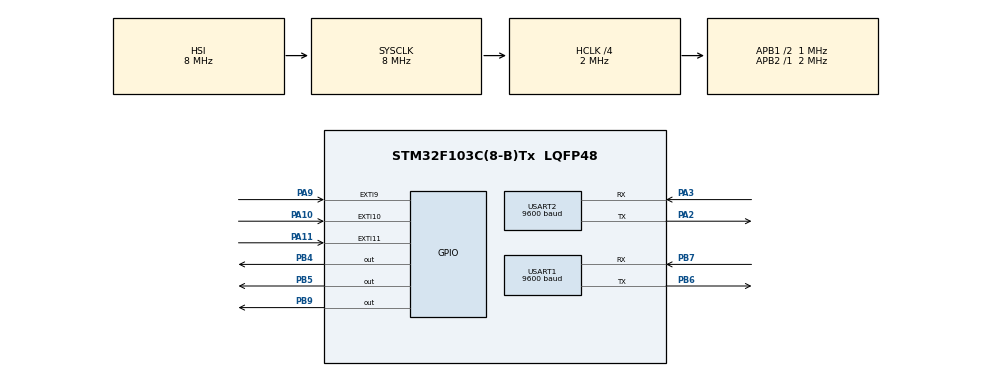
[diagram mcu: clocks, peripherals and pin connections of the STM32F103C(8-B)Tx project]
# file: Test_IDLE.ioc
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Mcu.Family=STM32F1
Mcu.Name=STM32F103C(8-B)Tx
Mcu.Package=LQFP48
NVIC.EXTI15_10_IRQn=true\:0\:0\:false\:false\:true\:true\:true\:true
NVIC.EXTI9_5_IRQn=true\:0\:0\:false\:false\:true\:true\:true\:true
NVIC.PriorityGroup=NVIC_PRIORITYGROUP_4
NVIC.USART1_IRQn=true\:0\:0\:false\:false\:true\:true\:true\:true
PA10.GPIO_PuPd=GPIO_PULLDOWN
PA10.Signal=GPXTI10
PA11.GPIO_PuPd=GPIO_PULLDOWN
PA11.Signal=GPXTI11
PA13.Mode=Trace_Asynchronous_SW
PA13.Signal=SYS_JTMS-SWDIO
PA14.Mode=Trace_Asynchronous_SW
PA14.Signal=SYS_JTCK-SWCLK
PA2.Mode=Asynchronous
PA2.Signal=USART2_TX
PA3.Mode=Asynchronous
PA3.Signal=USART2_RX
PA9.GPIO_PuPd=GPIO_PULLDOWN
PA9.Signal=GPXTI9
PB3.Mode=Trace_Asynchronous_SW
PB3.Signal=SYS_JTDO-TRACESWO
PB4.GPIO_PuPd=GPIO_PULLDOWN
PB4.Signal=GPIO_Output
PB5.GPIO_PuPd=GPIO_PULLDOWN
PB5.Signal=GPIO_Output
PB6.Mode=Asynchronous
PB6.Signal=USART1_TX
PB7.Mode=Asynchronous
PB7.Signal=USART1_RX
PB9.GPIO_PuPd=GPIO_PULLDOWN
PB9.Signal=GPIO_Output
ProjectManager.HeapSize=0x200
ProjectManager.StackSize=0x400
ProjectManager.TargetToolchain=MDK-ARM V5.32
RCC.AHBCLKDivider=RCC_SYSCLK_DIV4
RCC.AHBFreq_Value=2000000
RCC.APB1CLKDivider=RCC_HCLK_DIV2
RCC.APB1Freq_Value=1000000
RCC.APB1TimFreq_Value=2000000
RCC.APB2Freq_Value=2000000
RCC.APB2TimFreq_Value=2000000
RCC.HCLKFreq_Value=2000000
RCC.PLLMUL=RCC_PLL_MUL9
RCC.SYSCLKFreq_VALUE=8000000
RCC.USBFreq_Value=36000000
TIM2.Period=5000
TIM2.Prescaler=2000 - 1
USART1.BaudRate=9600
USART1.VirtualMode=VM_ASYNC
USART2.BaudRate=9600
USART2.VirtualMode=VM_ASYNC
VP_TIM2_VS_ClockSourceINT.Mode=Internal
board=custom

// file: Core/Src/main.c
/* USER CODE BEGIN Header */
/**
  ******************************************************************************
  * @file           : main.c
  * @brief          : Main program body
  ******************************************************************************
  * @attention
  *
  * <h2><center>&copy; Copyright (c) 2023 STMicroelectronics.
  * All rights reserved.</center></h2>
  *
  * This software component is licensed by ST under BSD 3-Clause license,
  * the "License"; You may not use this file except in compliance with the
  * License. You may obtain a copy of the License at:
  *                        opensource.org/licenses/BSD-3-Clause
  *
  ******************************************************************************
  */
/* USER CODE END Header */
#include "main.h"

/* USER CODE BEGIN Includes */
#include <stdio.h>
#include <string.h>
#include "nmea.h"
#include "button.h"
#include "flash.h"
#include <stdlib.h>
/* USER CODE END Includes */

/* USER CODE BEGIN PD */
#define rx_buffer_size 1000 // received buffer size
/* USER CODE END PD */

TIM_HandleTypeDef htim2;

UART_HandleTypeDef huart1;
UART_HandleTypeDef huart2;

/* USER CODE BEGIN PV */
uint8_t rx_buffer[rx_buffer_size] = {0, }; //received buffer

uint8_t push_on_off = 0; // responsible for pressing the button to start recording coordinates
uint8_t push_transmit = 0; // responsible for pressing the button to transmit recording coordinates
uint8_t push_make_point = 0; //responsible for pressing the button to make special coordinates

//uint8_t check_power = 0;
uint8_t check_capacity = 0; //responsible for flash-memory recording

/* USER CODE END PV */

void SystemClock_Config(void);
static void MX_GPIO_Init(void);
static void MX_USART1_UART_Init(void);
static void MX_USART2_UART_Init(void);
static void MX_TIM2_Init(void);

/* USER CODE BEGIN 0 */

void HAL_UART_IDLE_Callback(UART_HandleTypeDef *huart) {
	if (huart == &huart1) {
		__HAL_UART_DISABLE_IT(&huart1, UART_IT_IDLE);

		HAL_UART_AbortReceive_IT(&huart1);
		__HAL_UART_CLEAR_IDLEFLAG(&huart1);
		__HAL_UART_ENABLE_IT(&huart1, UART_IT_IDLE);
		HAL_UART_Receive_IT(&huart1, (uint8_t*)rx_buffer, rx_buffer_size);
	}
}

void HAL_UART_RxCpltCallback(UART_HandleTypeDef *huart) {
	if (huart == &huart1) {
		__HAL_UART_DISABLE_IT(&huart1, UART_IT_IDLE);

		HAL_UART_AbortReceive_IT(&huart1);
		__HAL_UART_CLEAR_IDLEFLAG(&huart1);
		__HAL_UART_ENABLE_IT(&huart1, UART_IT_IDLE);
		HAL_UART_Receive_IT(&huart1, (uint8_t*)rx_buffer, rx_buffer_size);
	}
}

void HAL_GPIO_EXTI_Callback(uint16_t GPIO_Pin)
{
	uint16_t t0 = TIM2->CNT;
	if (GPIO_Pin == BUT_ON_OFF) // on or off record track
	{
		if (Read_Button_Time_Push(GPIO_Pin, t0) < 200) push_on_off = 1;

		if (Read_Button_Time_Push(GPIO_Pin, t0) > 1000) push_on_off = 2;
	}

	if (GPIO_Pin == BUT_MAKE_POINT) // make a point
	{
		if (Read_Button_Time_Push(GPIO_Pin, t0) < 400) push_make_point = 1;
	}

	if (GPIO_Pin == BUT_TRANSMIT_DATA) // send data
	{
		if (Read_Button_Time_Push(GPIO_Pin, t0) < 400) push_transmit = 1;
	}

}

/* USER CODE END 0 */

int main(void)
{

  /* MCU Configuration--------------------------------------------------------*/

  /* Reset of all peripherals, Initializes the Flash interface and the Systick. */
  HAL_Init();

  /* USER CODE BEGIN Init */

	//FLASH_Read(ADDR_FLASH_PAGE_127, b);
  /* USER CODE END Init */

  /* Configure the system clock */
  SystemClock_Config();

  /* Initialize all configured peripherals */
  MX_GPIO_Init();
  MX_USART1_UART_Init();
  MX_USART2_UART_Init();
  MX_TIM2_Init();

  /* Infinite loop */
  /* USER CODE BEGIN WHILE */
  while (1)
  {

		uint8_t *buffer = get_transmit_buf().buf;
		uint16_t size = get_transmit_buf().size;
		uint16_t u16_size = 0;

		if ((size / 2) % 2 != 0)
		{
			u16_size = size / 2 + 1;
		}
		else u16_size = size / 2;

		if (check_valid_data(rx_buffer) == -1 && !check_capacity)
		{
			HAL_GPIO_WritePin(GPIOB, GPIO_PIN_9, GPIO_PIN_SET);
			Delay(300);
			HAL_GPIO_WritePin(GPIOB, GPIO_PIN_9, GPIO_PIN_RESET);
		}
		else if (check_valid_data(rx_buffer) && !push_on_off && !check_capacity)
		{
			HAL_GPIO_WritePin(GPIOB, GPIO_PIN_5, GPIO_PIN_SET);
			Delay(300);
			HAL_GPIO_WritePin(GPIOB, GPIO_PIN_5, GPIO_PIN_RESET);
		}

		if (size >= 980 && size < 1010)
		{
			Save_Data(buf_u8_to_u16(buffer, size), u16_size + 1);
			Save_Data(&amount_lists, 1);
			set_ind_c(0);
			set_ind_t(0);
			amount_lists++;
		} // save data on one page flash-memory

		if (push_on_off == 1 && !push_make_point)
		{
			nmea_handler(rx_buffer, AVERAGE);
			HAL_GPIO_WritePin(GPIOB, GPIO_PIN_5, GPIO_PIN_SET);
		} // start receive data

		if (push_on_off == 1 && push_make_point)
		{
			nmea_handler(rx_buffer, SPECIAL);
			push_make_point = 0;
			HAL_GPIO_WritePin(GPIOB, GPIO_PIN_4, GPIO_PIN_SET);
		} // make a special point
		Delay(300);
		HAL_GPIO_WritePin(GPIOB, GPIO_PIN_4, GPIO_PIN_RESET);

		if (push_on_off == 2)
		{
			Save_Data(buf_u8_to_u16(buffer, size), u16_size + 1);
			Save_Data(&amount_lists, 1);
			push_on_off = 0;
			set_ind_c(0);
			set_ind_t(0);
			amount_lists++;
		} //stop receive and save data

		if (push_on_off == 0)
		{
			HAL_GPIO_WritePin(GPIOB, GPIO_PIN_5, GPIO_PIN_RESET);
		}

		if (push_transmit)
		{
			uint16_t lists = 0;
			if ((*((uint32_t*)(ADDR_AMOUNT_PAGES))) == 0xFF) lists = 0;
			else lists = (*((uint32_t*)(ADDR_AMOUNT_PAGES)));
			for (uint16_t i = 0; i < lists; i++)
			{
				uint32_t add = ((uint32_t)(ADDR_FLASH_PAGE_126 -((uint32_t)(0x0000400 * (uint32_t)i))));
				uint16_t len = (*((uint32_t*)(ADDR_FLASH_PAGE_126 -((uint32_t)(0x0000400 * (uint32_t)i)))));
				transmit_data(buf_u16_to_u8(Read_Data(add, len), len), len * 2);
			}
			HAL_GPIO_WritePin(GPIOB, GPIO_PIN_4, GPIO_PIN_SET);
			Delay(1000);
			HAL_GPIO_WritePin(GPIOB, GPIO_PIN_4, GPIO_PIN_RESET);
			push_transmit = 0;
		}

		if (address_list_now == ((uint32_t)0x08007800))
		{
			check_capacity = 1;
			push_on_off = 0;
		} //check flash-memory capacity

		if (check_capacity)
		{
				HAL_GPIO_WritePin(GPIOB, GPIO_PIN_9, GPIO_PIN_SET);
		}

    /* USER CODE END WHILE */

}

void SystemClock_Config(void)
{
  RCC_OscInitTypeDef RCC_OscInitStruct = {0};
  RCC_ClkInitTypeDef RCC_ClkInitStruct = {0};

  /** Initializes the RCC Oscillators according to the specified parameters
  * in the RCC_OscInitTypeDef structure.
  */
  RCC_OscInitStruct.OscillatorType = RCC_OSCILLATORTYPE_HSI;
  RCC_OscInitStruct.HSIState = RCC_HSI_ON;
  RCC_OscInitStruct.HSICalibrationValue = RCC_HSICALIBRATION_DEFAULT;
  RCC_OscInitStruct.PLL.PLLState = RCC_PLL_NONE;
  if (HAL_RCC_OscConfig(&RCC_OscInitStruct) != HAL_OK)
  {
    Error_Handler();
  }

  /** Initializes the CPU, AHB and APB buses clocks
  */
  RCC_ClkInitStruct.ClockType = RCC_CLOCKTYPE_HCLK|RCC_CLOCKTYPE_SYSCLK
                              |RCC_CLOCKTYPE_PCLK1|RCC_CLOCKTYPE_PCLK2;
  RCC_ClkInitStruct.SYSCLKSource = RCC_SYSCLKSOURCE_HSI;
  RCC_ClkInitStruct.AHBCLKDivider = RCC_SYSCLK_DIV4;
  RCC_ClkInitStruct.APB1CLKDivider = RCC_HCLK_DIV2;
  RCC_ClkInitStruct.APB2CLKDivider = RCC_HCLK_DIV1;

  if (HAL_RCC_ClockConfig(&RCC_ClkInitStruct, FLASH_LATENCY_0) != HAL_OK)
  {
    Error_Handler();
  }
}

static void MX_TIM2_Init(void)
{

  TIM_ClockConfigTypeDef sClockSourceConfig = {0};
  TIM_MasterConfigTypeDef sMasterConfig = {0};

  htim2.Instance = TIM2;
  htim2.Init.Prescaler = 2000 - 1;
  htim2.Init.CounterMode = TIM_COUNTERMODE_UP;
  htim2.Init.Period = 5000;
  htim2.Init.ClockDivision = TIM_CLOCKDIVISION_DIV1;
  htim2.Init.AutoReloadPreload = TIM_AUTORELOAD_PRELOAD_DISABLE;
  if (HAL_TIM_Base_Init(&htim2) != HAL_OK)
  {
    Error_Handler();
  }
  sClockSourceConfig.ClockSource = TIM_CLOCKSOURCE_INTERNAL;
  if (HAL_TIM_ConfigClockSource(&htim2, &sClockSourceConfig) != HAL_OK)
  {
    Error_Handler();
  }
  sMasterConfig.MasterOutputTrigger = TIM_TRGO_RESET;
  sMasterConfig.MasterSlaveMode = TIM_MASTERSLAVEMODE_DISABLE;
  if (HAL_TIMEx_MasterConfigSynchronization(&htim2, &sMasterConfig) != HAL_OK)
  {
    Error_Handler();
  }

}

static void MX_USART1_UART_Init(void)
{

  huart1.Instance = USART1;
  huart1.Init.BaudRate = 9600;
  huart1.Init.WordLength = UART_WORDLENGTH_8B;
  huart1.Init.StopBits = UART_STOPBITS_1;
  huart1.Init.Parity = UART_PARITY_NONE;
  huart1.Init.Mode = UART_MODE_TX_RX;
  huart1.Init.HwFlowCtl = UART_HWCONTROL_NONE;
  huart1.Init.OverSampling = UART_OVERSAMPLING_16;
  if (HAL_UART_Init(&huart1) != HAL_OK)
  {
    Error_Handler();
  }

}

static void MX_USART2_UART_Init(void)
{

  huart2.Instance = USART2;
  huart2.Init.BaudRate = 9600;
  huart2.Init.WordLength = UART_WORDLENGTH_8B;
  huart2.Init.StopBits = UART_STOPBITS_1;
  huart2.Init.Parity = UART_PARITY_NONE;
  huart2.Init.Mode = UART_MODE_TX_RX;
  huart2.Init.HwFlowCtl = UART_HWCONTROL_NONE;
  huart2.Init.OverSampling = UART_OVERSAMPLING_16;
  if (HAL_UART_Init(&huart2) != HAL_OK)
  {
    Error_Handler();
  }

}

static void MX_GPIO_Init(void)
{
  GPIO_InitTypeDef GPIO_InitStruct = {0};

  /* GPIO Ports Clock Enable */
  __HAL_RCC_GPIOA_CLK_ENABLE();
  __HAL_RCC_GPIOB_CLK_ENABLE();

  /*Configure GPIO pin Output Level */
  HAL_GPIO_WritePin(GPIOB, GPIO_PIN_4|GPIO_PIN_5|GPIO_PIN_9, GPIO_PIN_RESET);

  /*Configure GPIO pins : PA9 PA10 PA11 */
  GPIO_InitStruct.Pin = GPIO_PIN_9|GPIO_PIN_10|GPIO_PIN_11;
  GPIO_InitStruct.Mode = GPIO_MODE_IT_RISING;
  GPIO_InitStruct.Pull = GPIO_PULLDOWN;
  HAL_GPIO_Init(GPIOA, &GPIO_InitStruct);

  /*Configure GPIO pins : PB4 PB5 PB9 */
  GPIO_InitStruct.Pin = GPIO_PIN_4|GPIO_PIN_5|GPIO_PIN_9;
  GPIO_InitStruct.Mode = GPIO_MODE_OUTPUT_PP;
  GPIO_InitStruct.Pull = GPIO_PULLDOWN;
  GPIO_InitStruct.Speed = GPIO_SPEED_FREQ_LOW;
  HAL_GPIO_Init(GPIOB, &GPIO_InitStruct);

  /* EXTI interrupt init*/
  HAL_NVIC_SetPriority(EXTI9_5_IRQn, 0, 0);
  HAL_NVIC_EnableIRQ(EXTI9_5_IRQn);

  HAL_NVIC_SetPriority(EXTI15_10_IRQn, 0, 0);
  HAL_NVIC_EnableIRQ(EXTI15_10_IRQn);

}

void Error_Handler(void)
{
  __disable_irq();
  while (1)
  {
  }
}
